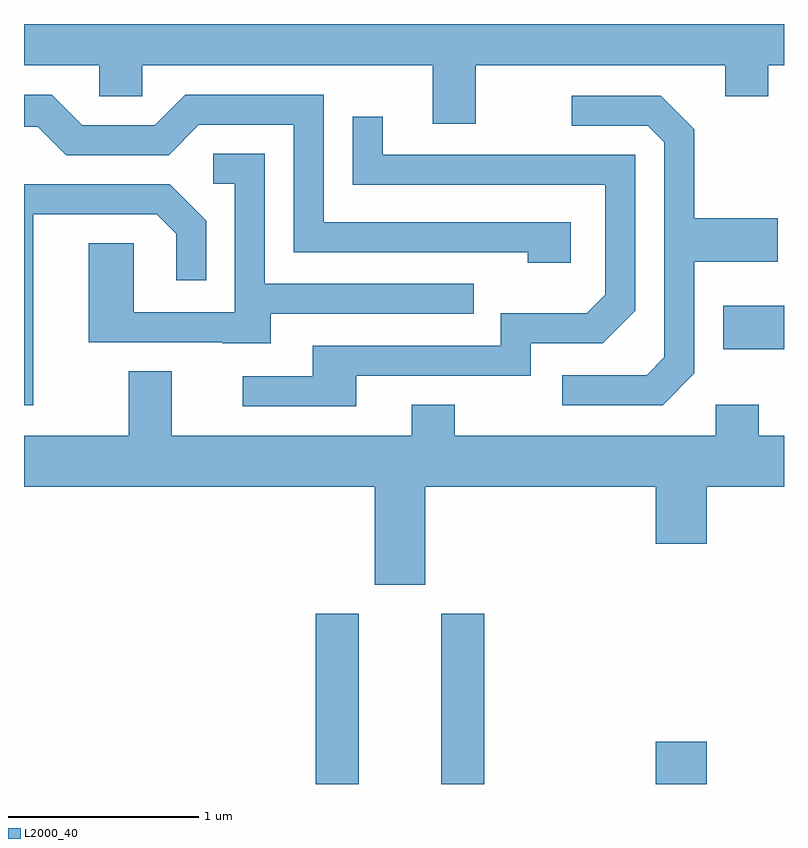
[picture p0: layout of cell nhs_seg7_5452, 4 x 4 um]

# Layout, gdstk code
import gdstk
lib = gdstk.Library(unit=1e-6, precision=1e-09)
def R(c, l, rs):  # rectangles x0, y0, x1, y1
    for r in rs: c.add(gdstk.rectangle(r[:2], r[2:], *l))
def P(c, l, *ps):  # polygons
    for p in ps: c.add(gdstk.Polygon(p, *l))
L2000_40 = (2000, 40)

nhs_seg7_5452 = lib.new_cell('nhs_seg7_5452')
R(nhs_seg7_5452, L2000_40, [(353.146,1768.252,353.374,1769.149), (353.806,1768.252,354.034,1769.149), (354.936,1768.252,355.204,1768.474), (355.291,1770.541,355.611,1770.769)])
P(nhs_seg7_5452, L2000_40, [(353.989,1772.036),(355.301,1772.036),(355.301,1771.871),(355.529,1771.871),(355.529,1772.036),(355.611,1772.036),(355.611,1772.252),(351.611,1772.252),(351.611,1772.036),(352.006,1772.036),(352.006,1771.871),(352.234,1771.871),(352.234,1772.036),(353.761,1772.036),(353.761,1771.726),(353.989,1771.726)],
  [(354.489,1771.209),(353.189,1771.209),(353.189,1771.879),(352.459,1771.879),(352.299,1771.719),(351.917,1771.719),(351.757,1771.879),(351.611,1771.879),(351.611,1771.711),(351.684,1771.711),(351.834,1771.561),(352.372,1771.561),(352.532,1771.721),(353.031,1771.721),(353.031,1771.051),(354.261,1771.051),(354.261,1770.996),(354.489,1770.996)],
  [(355.139,1770.414),(355.139,1771.001),(355.579,1771.001),(355.579,1771.229),(355.139,1771.229),(355.139,1771.697),(354.962,1771.874),(354.493,1771.874),(354.493,1771.716),(354.894,1771.716),(354.981,1771.629),(354.981,1770.497),(354.889,1770.404),(354.443,1770.404),(354.443,1770.246),(354.972,1770.246)],
  [(353.359,1770.401),(354.279,1770.401),(354.279,1770.571),(354.657,1770.571),(354.829,1770.744),(354.829,1771.564),(353.499,1771.564),(353.499,1771.763),(353.341,1771.763),(353.341,1771.406),(354.671,1771.406),(354.671,1770.827),(354.574,1770.729),(354.121,1770.729),(354.121,1770.559),(353.131,1770.559),(353.131,1770.399),(352.763,1770.399),(352.763,1770.241),(353.359,1770.241)],
  [(352.909,1770.726),(353.978,1770.726),(353.978,1770.884),(352.879,1770.884),(352.879,1771.569),(352.608,1771.569),(352.608,1771.411),(352.721,1771.411),(352.721,1770.734),(352.189,1770.734),(352.189,1771.099),(351.951,1771.099),(351.951,1770.576),(352.655,1770.576),(352.655,1770.571),(352.909,1770.571)],
  [(351.659,1771.251),(352.309,1771.251),(352.411,1771.149),(352.411,1770.903),(352.569,1770.903),(352.569,1771.217),(352.377,1771.409),(351.611,1771.409),(351.611,1770.246),(351.659,1770.246)],
  [(353.724,1769.816),(354.936,1769.816),(354.936,1769.516),(355.204,1769.516),(355.204,1769.816),(355.611,1769.816),(355.611,1770.084),(355.479,1770.084),(355.479,1770.249),(355.251,1770.249),(355.251,1770.084),(353.879,1770.084),(353.879,1770.249),(353.651,1770.249),(353.651,1770.084),(352.389,1770.084),(352.389,1770.424),(352.161,1770.424),(352.161,1770.084),(351.611,1770.084),(351.611,1769.816),(353.456,1769.816),(353.456,1769.301),(353.724,1769.301)])

lib.write_gds('nhs_seg7_5452.gds')
